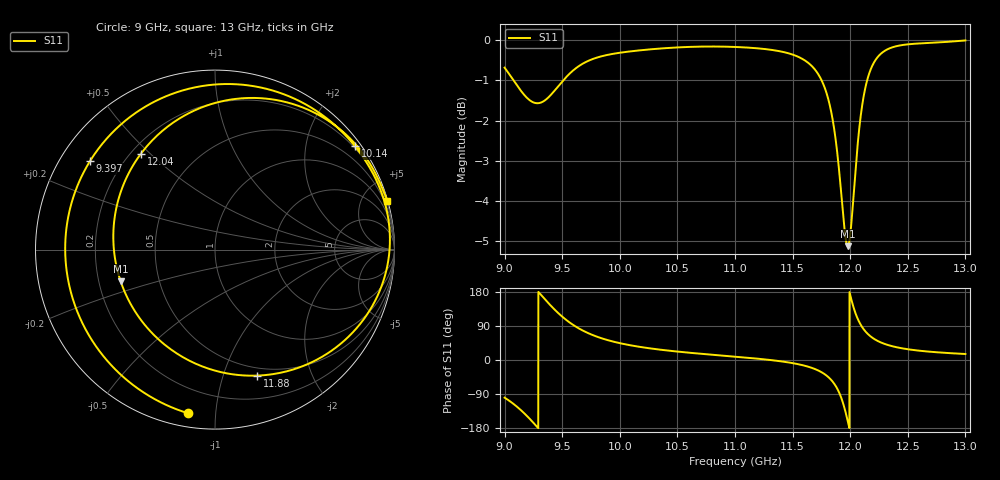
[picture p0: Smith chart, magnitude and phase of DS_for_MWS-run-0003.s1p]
! TOUCHSTONE file generated by CST DESIGN STUDIO
! Date and time: Tue Feb  4 14:34:02 2025
! Project name: C:\Work\MatlabApps\UnitCellOptimizationMatlab\CST\unitcell.cst
! Tree item: Tasks\Sweep1\SPara1\S-Parameters
! Header version: 2024
! Port assignment regex: !\s*Touchstone port\s*([0-9]+)\s*=\s*(CST MWS port|CST DES external port|CST DES block port)\s*(.+)\s* \(\"(.*)\"\)(\s*mode\s*([0-9]+))?.*
! Touchstone port assignment:
! Touchstone port 1 = CST DES external port 1 ("")
# GHz S MA R 50
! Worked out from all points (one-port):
!   4001 points, 9 GHz to 13 GHz, reference 50 ohm
!   lowest |S11| = -5.1 dB at 11.98 GHz (marker M1), VSWR 3.49, Z = 14.7 - j7.44 ohm
!   |S11| at or under -10 dB: nowhere
!   S11 on the Smith chart (normalised r, x): 9 GHz: 0.07, -0.85; 9.397 GHz: 0.09, +0.32; 10.14 GHz: 0.16, +3.03; 11.88 GHz: 0.42, -1.30; 12.04 GHz: 0.24, +0.47; 13 GHz: 0.04, +7.19
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9  0.9239 -99.4
9.12  0.8732 -126.5
9.239  0.838 -162.0
9.317  0.8363 171.5
9.397  0.8534 144.6
9.5  0.888 114.4
9.601  0.9181 91.4
9.733  0.943 69.8
10  0.9641 44.4
10.137  0.9695 36.4
10.5  0.9789 22.2
11  0.9802 8.8
11.5  0.9591 -8.2
11.647  0.9338 -18.8
11.747  0.8939 -31.5
11.82  0.8331 -47.8
11.88  0.7401 -71.5
11.931  0.6238 -107.3
11.979  0.5547 -161.5
12  0.5725 171.7
12.041  0.6752 127.7
12.072  0.7605 104.2
12.106  0.8331 85.9
12.157  0.9013 67.5
12.213  0.9411 54.6
12.327  0.9742 39.6
12.5  0.9875 28.4
13  0.9986 15.8
